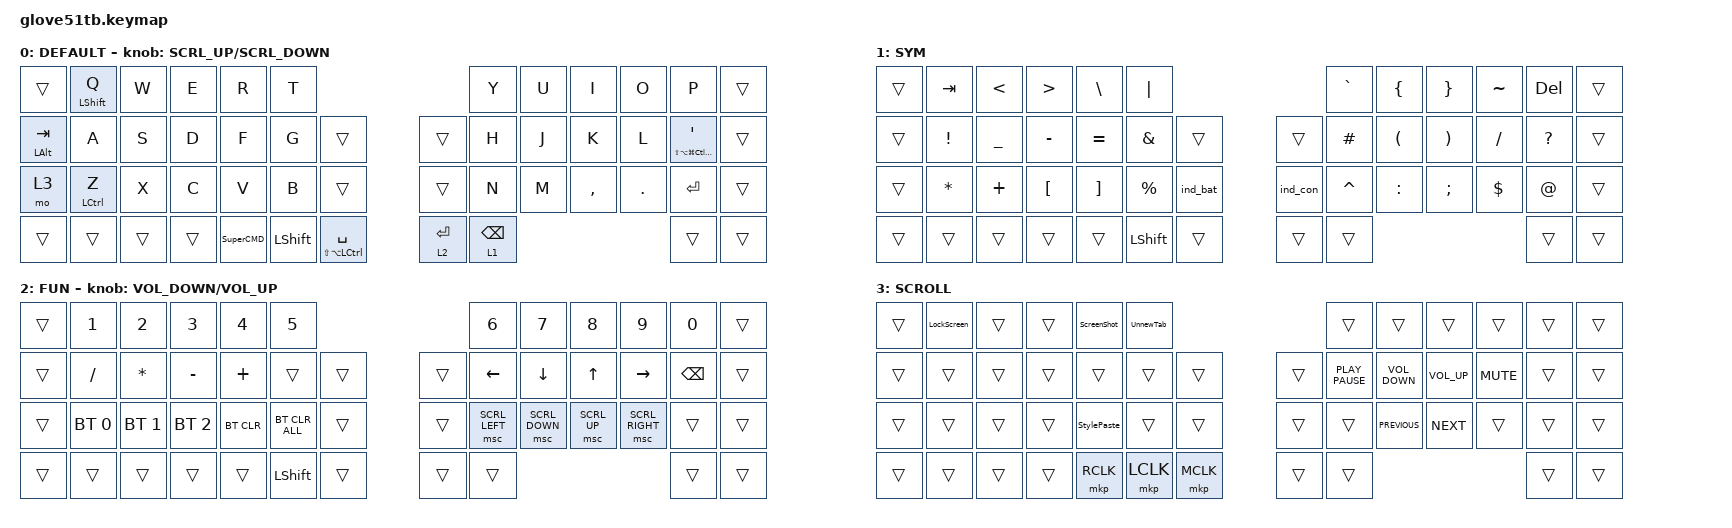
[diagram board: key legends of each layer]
#define ZMK_POINTING_DEFAULT_SCRL_VAL 150

#include <behaviors/rgbled_widget.dtsi>
#include <dt-bindings/zmk/input_transform.h>
#include <input/processors.dtsi>
#include <zephyr/dt-bindings/input/input-event-codes.h>
#include <behaviors.dtsi>
#include <dt-bindings/zmk/bt.h>
#include <dt-bindings/zmk/keys.h>
#include <dt-bindings/zmk/pointing.h>

// Layer Numbering

#define DEFAULT 0
#define NUM     1
#define SYM     2
#define FUN     3
#define MOUSE   4
#define SCROLL  4

/ {
    input_processors {
        zip_wheel_scaler: zip_wheel_scaler {
            compatible = "zmk,input-processor-scaler";
            #input-processor-cells = <2>;
            type = <INPUT_EV_REL>;
            codes = <INPUT_REL_WHEEL>;
            track-remainders;
        };
    };
};

/ {
    combos {
        compatible = "zmk,combos";

        mouse_layer_combo {
            bindings = <&mo 0>;
            key-positions = <35 36>;
        };

        MehTab {
            bindings = <&kp LS(LA(LC(TAB)))>;
            key-positions = <36 37 35>;
            layers = <0>;
        };

        shifttab {
            bindings = <&kp LS(TAB)>;
            key-positions = <14 16>;
        };

        Meh {
            bindings = <&kp LS(LA(LEFT_CONTROL))>;
            key-positions = <45 48>;
        };

        MehSpace {
            bindings = <&kp LS(LA(LC(SPACE)))>;
            key-positions = <21 22 23>;
            layers = <0>;
        };
    };

    behaviors {
        sensor_rotate_kp: sensor_rotate_kp {
            compatible = "zmk,behavior-sensor-rotate-var";
            #sensor-binding-cells = <2>;
            bindings = <&kp>, <&kp>;
        };

        mouse_wheel_scroll: mouse_wheel_scroll {
            compatible = "zmk,behavior-sensor-rotate-var";
            #sensor-binding-cells = <2>;
            bindings = <&msc>, <&msc>;

            tap-ms = <20>;
        };

        ht_balance: ht_balance {
            compatible = "zmk,behavior-hold-tap";
            label = "HT_BALANCE";
            bindings = <&kp>, <&kp>;

            #binding-cells = <2>;
            flavor = "balanced";
            tapping-term-ms = <200>;
            hold-trigger-key-positions = <1 2 3 4 5 13 14 15 16 17 18 27 28 29 30 31 32 43 41 42 6 7 8 9 10 20 21 22 23 24 34 35 36 37 38 49 0 12 26 40 44 45 46 47 48 19 33 11 25 39 50>;
        };

        lt_tap: lt_tap {
            compatible = "zmk,behavior-hold-tap";
            label = "LT_TAP";
            bindings = <&mo>, <&kp>;

            #binding-cells = <2>;
            tapping-term-ms = <200>;
            hold-trigger-key-positions = <1 2 3 4 5 6 7 8 9 13 14 15 16 17 18 19 20 21 22 23 27 28 29 30 31 32 33 34 35 36 37 41 42 43 10 24 38 49 39 50 25 11 40 26 12 0 44 45 46 47 48>;
            flavor = "tap-preferred";
            quick-tap-ms = <150>;
        };

        SuperCMD: SuperCMD {
            compatible = "zmk,behavior-tap-dance";
            label = "SUPERCMD";
            #binding-cells = <0>;
            bindings = <&ht_hold LEFT_GUI ESCAPE>, <&mo 3>;
        };

        ht_hold: ht_hold {
            compatible = "zmk,behavior-hold-tap";
            label = "HT_HOLD";
            bindings = <&kp>, <&kp>;

            #binding-cells = <2>;
            flavor = "hold-preferred";
            tapping-term-ms = <200>;
            hold-trigger-key-positions = <1 2 3 4 5 13 14 15 16 17 18 27 28 29 30 31 32 43 41 42 6 7 8 9 10 20 21 22 23 24 34 35 36 37 38 49 0 12 26 40 44 45 46 47 48 19 33 11 25 39 50>;
        };
    };

    macros {
        LockScreen: LockScreen {
            compatible = "zmk,behavior-macro";
            #binding-cells = <0>;
            bindings = <&kp LG(LA(Q))>;
            label = "LOCKSCREEN";
        };

        UnnewTab: UnnewTab {
            compatible = "zmk,behavior-macro";
            #binding-cells = <0>;
            bindings = <&kp LG(LS(T))>;
            label = "UNNEWTAB";
        };

        StylePaste: StylePaste {
            compatible = "zmk,behavior-macro";
            #binding-cells = <0>;
            bindings = <&kp LG(LS(V))>;
            label = "STYLEPASTE";
        };

        ScreenShot: ScreenShot {
            compatible = "zmk,behavior-macro";
            #binding-cells = <0>;
            bindings = <&kp LG(LS(NUMBER_4))>;
            label = "SCREENSHOT";
        };
    };

    keymap {
        compatible = "zmk,keymap";

        default_layer {
            label = "DEFAULT";
            bindings = <
&trans                    &ht_balance LEFT_SHIFT Q    &kp W   &kp E   &kp R      &kp T                                                                    &kp Y                &kp U  &kp I      &kp O    &kp P                                                  &trans
&ht_balance LEFT_ALT TAB  &kp A                       &kp S   &kp D   &kp F      &kp G           &trans                                  &trans           &kp H                &kp J  &kp K      &kp L    &ht_balance LS(LA(LG(LC(LEFT_CONTROL)))) SINGLE_QUOTE  &trans
&mo 3                     &ht_balance LEFT_CONTROL Z  &kp X   &kp C   &kp V      &kp B           &trans                                  &trans           &kp N                &kp M  &kp COMMA  &kp DOT  &kp ENTER                                              &trans
&trans                    &trans                      &trans  &trans  &SuperCMD  &kp LEFT_SHIFT  &ht_balance LS(LA(LEFT_CONTROL)) SPACE  &lt_tap 2 ENTER  &lt_tap 1 BACKSPACE                             &trans                                                 &trans
            >;

            sensor-bindings = <&mouse_wheel_scroll SCRL_UP SCRL_DOWN>;
        };

        sym_layer {
            label = "SYM";
            bindings = <
&trans  &kp TAB       &kp LESS_THAN  &kp GREATER_THAN  &kp BACKSLASH      &kp PIPE                            &kp GRAVE  &kp LEFT_BRACE        &kp RIGHT_BRACE        &kp TILDE   &kp DELETE    &trans
&trans  &kp EXCL      &kp UNDER      &kp MINUS         &kp EQUAL          &kp AMPS        &trans    &trans    &kp HASH   &kp LEFT_PARENTHESIS  &kp RIGHT_PARENTHESIS  &kp SLASH   &kp QUESTION  &trans
&trans  &kp ASTERISK  &kp PLUS       &kp LEFT_BRACKET  &kp RIGHT_BRACKET  &kp PERCENT     &ind_bat  &ind_con  &kp CARET  &kp COLON             &kp SEMICOLON          &kp DOLLAR  &kp AT        &trans
&trans  &trans        &trans         &trans            &trans             &kp LEFT_SHIFT  &trans    &trans    &trans                                                              &trans        &trans
            >;
        };

        nav_layer {
            label = "FUN";
            bindings = <
&trans  &kp NUMBER_1  &kp NUMBER_2  &kp NUMBER_3  &kp NUMBER_4  &kp NUMBER_5                    &kp NUMBER_6    &kp NUMBER_7    &kp NUMBER_8  &kp NUMBER_9     &kp NUMBER_0   &trans
&trans  &kp SLASH     &kp ASTERISK  &kp MINUS     &kp PLUS      &trans          &trans  &trans  &kp LEFT_ARROW  &kp DOWN_ARROW  &kp UP_ARROW  &kp RIGHT_ARROW  &kp BACKSPACE  &trans
&trans  &bt BT_SEL 0  &bt BT_SEL 1  &bt BT_SEL 2  &bt BT_CLR    &bt BT_CLR_ALL  &trans  &trans  &msc SCRL_LEFT  &msc SCRL_DOWN  &msc SCRL_UP  &msc SCRL_RIGHT  &trans         &trans
&trans  &trans        &trans        &trans        &trans        &kp LEFT_SHIFT  &trans  &trans  &trans                                                         &trans         &trans
            >;

            sensor-bindings = <&sensor_rotate_kp C_VOLUME_DOWN C_VOLUME_UP>;
        };

        sys_layer {
            label = "SCROLL";
            bindings = <
&trans  &LockScreen  &trans  &trans  &ScreenShot  &UnnewTab                     &trans            &trans             &trans           &trans      &trans  &trans
&trans  &trans       &trans  &trans  &trans       &trans     &trans     &trans  &kp K_PLAY_PAUSE  &kp C_VOLUME_DOWN  &kp C_VOLUME_UP  &kp K_MUTE  &trans  &trans
&trans  &trans       &trans  &trans  &StylePaste  &trans     &trans     &trans  &trans            &kp K_PREVIOUS     &kp K_NEXT       &trans      &trans  &trans
&trans  &trans       &trans  &trans  &mkp RCLK    &mkp LCLK  &mkp MCLK  &trans  &trans                                                            &trans  &trans
            >;
        };
    };
};
